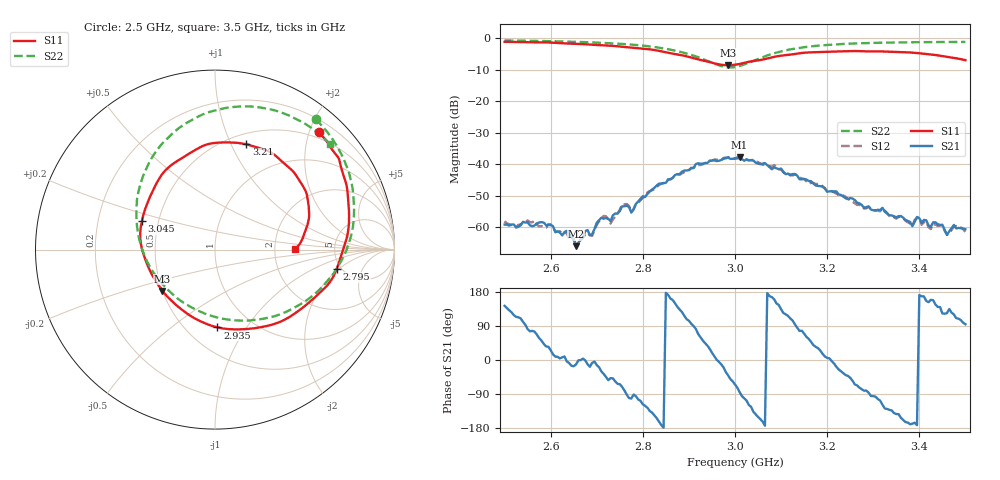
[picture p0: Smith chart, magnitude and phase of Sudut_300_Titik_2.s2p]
# Hz S RI R 50
! CMT, C1220, 16058040, 17.2.0/1
! Date: 15/08/2018 10:52:56
! Data: Format (Calibration Info)
! Freq  S11: Re/Im (F2)  S21: Re/Im (F2)  S12: Re/Im (F2)  S22: Re/Im (F2)
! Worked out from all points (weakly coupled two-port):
!   201 points, 2.5 GHz to 3.5 GHz, reference 50 ohm
!   highest |S21| = -37.72 dB at 3.01 GHz (marker M1); lowest = -66.0 dB at 2.655 GHz (marker M2)
!   lowest |S11| = -8.6 dB at 2.985 GHz (marker M3), VSWR 2.19, Z = 25 - j13.4 ohm
!   |S11| at or under -10 dB: nowhere
!   |S22| runs from -9.3 to -0.7 dB; largest |S21 - S12| = 0.00085
!   S11 on the Smith chart (normalised r, x): 2.5 GHz: 0.40, +2.17; 2.795 GHz: 4.59, -1.87; 2.935 GHz: 0.70, -0.75; 3.045 GHz: 0.40, +0.16; 3.21 GHz: 0.61, +1.14; 3.5 GHz: 2.62, +0.02
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2.5e9  0.5797 0.6526  -0.000879 0.000663  -0.00103 0.000697  0.5612 0.7269
2.585e9  0.6855 0.514  0.000874 0.0008  0.000686 0.0007  0.6546 0.6155
2.635e9  0.7233 0.3916  0.000874 -5.59e-05  0.000802 -0.000118  0.7049 0.5296
2.655e9  0.7352 0.3464  0.00049 -0.000101  0.000524 -8.32e-05  0.723 0.4902
2.67e9  0.7388 0.3159  0.00069 4.32e-05  0.000675 -4.72e-05  0.7357 0.4576
2.715e9  0.747 0.1799  0.00109 -0.000816  0.00121 -0.000907  0.7653 0.3468
2.73e9  0.7456 0.1373  0.00084 -0.000926  0.000699 -0.000905  0.7704 0.3065
2.755e9  0.7282 0.0455  0.000695 -0.00203  0.000832 -0.00217  0.7752 0.232
2.775e9  0.7065 -0.0234  -0.000344 -0.00167  -0.000425 -0.00169  0.7724 0.165
2.795e9  0.6782 -0.1076  -0.000878 -0.00269  -0.000815 -0.00255  0.7622 0.0935
2.835e9  0.5788 -0.2453  -0.0047 -0.00147  -0.00442 -0.00145  0.7024 -0.0653
2.935e9  0.0137 -0.4335  0.00741 0.0073  0.00712 0.00768  0.225 -0.3913
2.985e9  -0.2928 -0.2302  0.00967 -0.00825  0.0101 -0.00797  -0.1705 -0.2986
3e9  -0.3535 -0.1356  0.00522 -0.011  0.00469 -0.0114  -0.2724 -0.2139
3.01e9  -0.3835 -0.0671  0.00119 -0.0129  0.00116 -0.0123  -0.3297 -0.1468
3.045e9  -0.4073 0.1586  -0.00849 -0.00624  -0.00877 -0.0067  -0.434 0.1263
3.17e9  0.0245 0.5963  0.00383 0.00315  0.0036 0.00352  -0.0946 0.7408
3.21e9  0.1742 0.5872  0.0037 -0.000186  0.00371 -0.000489  0.0516 0.7875
3.335e9  0.4656 0.3923  -0.00102 -0.00115  -0.00103 -0.0011  0.3884 0.7568
3.435e9  0.5184 0.1502  -0.000998 0.000659  -0.000914 0.000612  0.5597 0.6613
3.46e9  0.4969 0.0866  -0.000421 0.000636  -0.000382 0.000653  0.5943 0.6344
3.5e9  0.4474 0.00304  -7.2e-05 0.000927  -5.48e-05 0.000845  0.6417 0.5873
